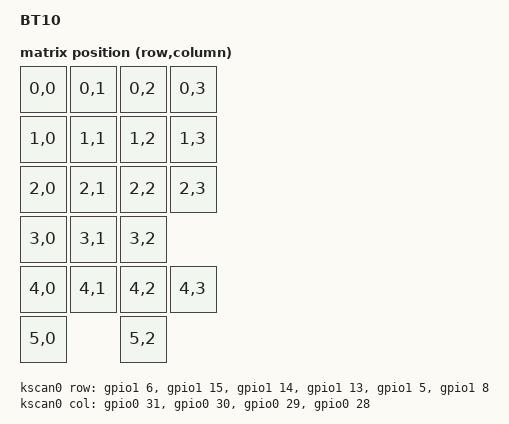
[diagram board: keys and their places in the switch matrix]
/*
* Copyright (c) 2021 Polarity Works
*
* SPDX-License-Identifier: MIT
*/

/dts-v1/;
#include <nordic/nrf52840_qiaa.dtsi>

#include <dt-bindings/led/led.h>
#include <dt-bindings/zmk/matrix_transform.h>

/ {
	model = "BT10";
	compatible = "polarityworks,BT10";

	chosen {
		zephyr,code-partition = &code_partition;
		zephyr,sram = &sram0;
		zephyr,flash = &flash0;
		zmk,kscan = &kscan0;
		zmk,underglow = &led_strip;
		zmk,backlight = &backlight;
		zmk,matrix_transform = &default_transform;
	  zmk,battery = &vbatt;
	};

	sensors {
		compatible = "zmk,keymap-sensors";
		sensors = <&encoder_1>;
	};

	default_transform: keymap_transform_0 {
		compatible = "zmk,matrix-transform";
		columns = <15>;
		rows = <5>;
		map = <
			RC(0,0) RC(0,1) RC(0,2) RC(0,3)
			RC(1,0) RC(1,1) RC(1,2) RC(1,3)
			RC(2,0) RC(2,1) RC(2,2) RC(2,3)
			RC(3,0) RC(3,1) RC(3,2)
			RC(4,0) RC(4,1) RC(4,2) RC(4,3)
			RC(5,0)         RC(5,2)
		>;
	};


	kscan0: kscan_0 {
		compatible = "zmk,kscan-gpio-matrix";
		label = "KSCAN";
		diode-direction = "col2row";

		col-gpios
			= <&gpio0 31 GPIO_ACTIVE_HIGH>
			, <&gpio0 30 GPIO_ACTIVE_HIGH>
			, <&gpio0 29 GPIO_ACTIVE_HIGH>
			, <&gpio0 28 GPIO_ACTIVE_HIGH>
			;

		row-gpios
			= <&gpio1 6 (GPIO_ACTIVE_HIGH | GPIO_PULL_DOWN)>
			, <&gpio1 15 (GPIO_ACTIVE_HIGH | GPIO_PULL_DOWN)>
			, <&gpio1 14 (GPIO_ACTIVE_HIGH | GPIO_PULL_DOWN)>
			, <&gpio1 13 (GPIO_ACTIVE_HIGH | GPIO_PULL_DOWN)>
			, <&gpio1 5 (GPIO_ACTIVE_HIGH | GPIO_PULL_DOWN)>
			, <&gpio1 8 (GPIO_ACTIVE_HIGH | GPIO_PULL_DOWN)>
			;
	};


	leds {
		compatible = "gpio-leds";
		blue_led: led_0 {
			gpios = <&gpio0 15 GPIO_ACTIVE_HIGH>;
			label = "Blue LED";
		};
	};

	vbatt: vbatt {
		compatible = "zmk,battery-voltage-divider";
		label = "VBATT";
		io-channels = <&adc 2>;
		output-ohms = <100000>;
		full-ohms = <(100000 + 100000)>;
	};
};

&adc {
	status = "okay";
};

&pwm0 {
	status = "okay";
	ch0-pin = <17>;
};

&gpiote {
	status = "okay";
};

&gpio0 {
	status = "okay";
};

&gpio1 {
	status = "okay";
};

&usbd {
	status = "okay";
};


&flash0 {
	/*
	 * For more information, see:
	 * http://docs.zephyrproject.org/latest/devices/dts/flash_partitions.html
	 */
	partitions {
		compatible = "fixed-partitions";
		#address-cells = <1>;
		#size-cells = <1>;

		sd_partition: partition@0 {
			label = "softdevice";
			reg = <0x00000000 0x00026000>;
		};
		code_partition: partition@26000 {
			label = "code_partition";
			reg = <0x00026000 0x000c6000>;
		};

		/*
		 * The flash starting at 0x000ec000 and ending at
		 * 0x000f3fff is reserved for use by the application.
		 */

		/*
		 * Storage partition will be used by FCB/LittleFS/NVS
		 * if enabled.
		 */
		storage_partition: partition@ec000 {
			label = "storage";
			reg = <0x000ec000 0x00008000>;
		};

		boot_partition: partition@f4000 {
			label = "adafruit_boot";
			reg = <0x000f4000 0x0000c000>;
		};
	};
};
